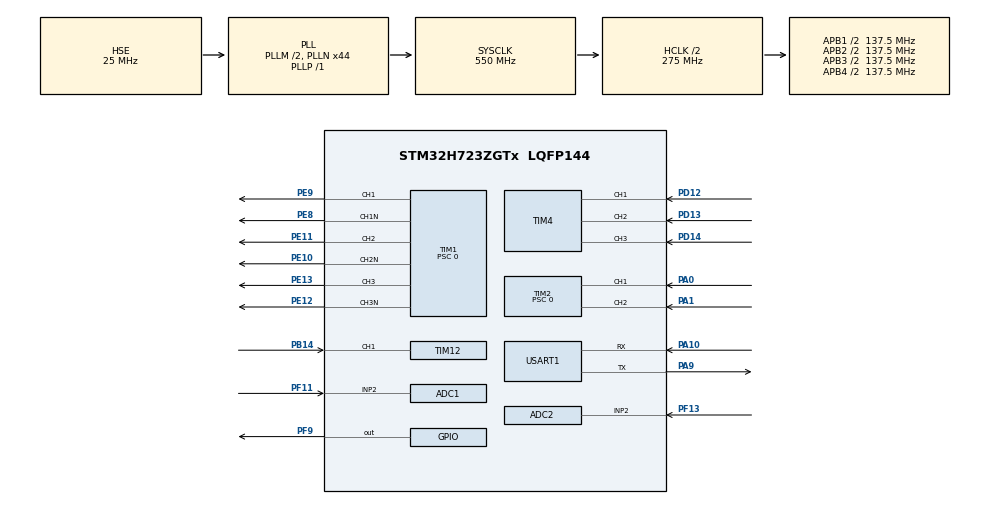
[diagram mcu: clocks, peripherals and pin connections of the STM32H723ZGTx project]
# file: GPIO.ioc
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ADC1.ClockPrescaler=ADC_CLOCK_SYNC_PCLK_DIV1
ADC1.ContinuousConvMode=DISABLE
ADC1.EOCSelection=ADC_EOC_SEQ_CONV
ADC1.EnableInjectedConversion=ENABLE
ADC1.EnableRegularConversion=DISABLE
ADC1.ExternalTrigInjecConv=ADC_EXTERNALTRIGINJEC_T1_TRGO
ADC1.InjNumberOfConversion=1
ADC1.InjectedChannel-18\#ChannelInjectedConversion=ADC_CHANNEL_2
ADC1.InjectedOffsetNumber-18\#ChannelInjectedConversion=ADC_OFFSET_NONE
ADC1.InjectedOffsetSaturation-18\#ChannelInjectedConversion=DISABLE
ADC1.InjectedOffsetSignedSaturation-18\#ChannelInjectedConversion=DISABLE
ADC1.InjectedRank-18\#ChannelInjectedConversion=1
ADC1.InjectedSamplingTime-18\#ChannelInjectedConversion=ADC_SAMPLETIME_8CYCLES_5
ADC1.Mode=ADC_DUALMODE_INJECSIMULT
ADC1.Resolution=ADC_RESOLUTION_12B
ADC1.master=1
ADC2.ClockPrescaler=ADC_CLOCK_SYNC_PCLK_DIV1
ADC2.EOCSelection=ADC_EOC_SEQ_CONV
ADC2.EnableInjectedConversion=ENABLE
ADC2.EnableRegularConversion=DISABLE
ADC2.InjNumberOfConversion=1
ADC2.InjectedChannel-20\#ChannelInjectedConversion=ADC_CHANNEL_2
ADC2.InjectedOffsetNumber-20\#ChannelInjectedConversion=ADC_OFFSET_NONE
ADC2.InjectedOffsetSaturation-20\#ChannelInjectedConversion=DISABLE
ADC2.InjectedRank-20\#ChannelInjectedConversion=1
ADC2.InjectedSamplingTime-20\#ChannelInjectedConversion=ADC_SAMPLETIME_8CYCLES_5
ADC2.Mode=ADC_DUALMODE_INJECSIMULT
ADC2.Resolution=ADC_RESOLUTION_12B
CORTEX_M7.default_mode_Activation=1
Dma.Request0=USART1_RX
Dma.Request1=USART1_TX
Dma.USART1_RX.0.Direction=DMA_PERIPH_TO_MEMORY
Dma.USART1_RX.0.EventEnable=DISABLE
Dma.USART1_RX.0.FIFOMode=DMA_FIFOMODE_DISABLE
Dma.USART1_RX.0.Instance=DMA1_Stream0
Dma.USART1_RX.0.MemDataAlignment=DMA_MDATAALIGN_BYTE
Dma.USART1_RX.0.MemInc=DMA_MINC_ENABLE
Dma.USART1_RX.0.Mode=DMA_CIRCULAR
Dma.USART1_RX.0.PeriphDataAlignment=DMA_PDATAALIGN_BYTE
Dma.USART1_RX.0.PeriphInc=DMA_PINC_DISABLE
Dma.USART1_RX.0.Polarity=HAL_DMAMUX_REQ_GEN_RISING
Dma.USART1_RX.0.Priority=DMA_PRIORITY_LOW
Dma.USART1_RX.0.RequestNumber=1
Dma.USART1_RX.0.SignalID=NONE
Dma.USART1_RX.0.SyncEnable=DISABLE
Dma.USART1_RX.0.SyncPolarity=HAL_DMAMUX_SYNC_NO_EVENT
Dma.USART1_RX.0.SyncRequestNumber=1
Dma.USART1_RX.0.SyncSignalID=NONE
Dma.USART1_TX.1.Direction=DMA_MEMORY_TO_PERIPH
Dma.USART1_TX.1.EventEnable=DISABLE
Dma.USART1_TX.1.FIFOMode=DMA_FIFOMODE_DISABLE
Dma.USART1_TX.1.Instance=DMA1_Stream1
Dma.USART1_TX.1.MemDataAlignment=DMA_MDATAALIGN_BYTE
Dma.USART1_TX.1.MemInc=DMA_MINC_ENABLE
Dma.USART1_TX.1.Mode=DMA_NORMAL
Dma.USART1_TX.1.PeriphDataAlignment=DMA_PDATAALIGN_BYTE
Dma.USART1_TX.1.PeriphInc=DMA_PINC_DISABLE
Dma.USART1_TX.1.Polarity=HAL_DMAMUX_REQ_GEN_RISING
Dma.USART1_TX.1.Priority=DMA_PRIORITY_LOW
Dma.USART1_TX.1.RequestNumber=1
Dma.USART1_TX.1.SignalID=NONE
Dma.USART1_TX.1.SyncEnable=DISABLE
Dma.USART1_TX.1.SyncPolarity=HAL_DMAMUX_SYNC_NO_EVENT
Dma.USART1_TX.1.SyncRequestNumber=1
Dma.USART1_TX.1.SyncSignalID=NONE
Mcu.Family=STM32H7
Mcu.Name=STM32H723ZGTx
Mcu.Package=LQFP144
Mcu.UserConstants=speed_calc_freq_for_encoder,MOTOR_SPEED_CALC_FREQ_FOR_ENCODER;pwm_freq,MOTOR_PWM_FREQ;speed_calc_freq,MOTOR_SPEED_CALC_FREQ
NVIC.ADC_IRQn=true\:1\:0\:true\:false\:true\:true\:true\:true
NVIC.DMA1_Stream0_IRQn=true\:0\:0\:false\:false\:true\:false\:true\:true
NVIC.DMA1_Stream1_IRQn=true\:0\:0\:false\:false\:true\:false\:true\:true
NVIC.PriorityGroup=NVIC_PRIORITYGROUP_4
NVIC.RCC_IRQn=true\:0\:0\:false\:false\:true\:true\:false\:true
NVIC.TIM3_IRQn=true\:1\:0\:true\:false\:true\:true\:true\:true
NVIC.TIM4_IRQn=true\:1\:0\:true\:false\:true\:true\:true\:true
NVIC.TIM5_IRQn=true\:1\:0\:true\:false\:true\:true\:true\:true
NVIC.TIM8_BRK_TIM12_IRQn=true\:0\:0\:false\:false\:true\:true\:true\:true
NVIC.USART1_IRQn=true\:0\:0\:false\:false\:true\:true\:true\:true
PA0.Signal=S_TIM2_CH1_ETR
PA1.Signal=S_TIM2_CH2
PA10.Mode=Asynchronous
PA10.Signal=USART1_RX
PA13(JTMS/SWDIO).Mode=Serial_Wire
PA13(JTMS/SWDIO).Signal=DEBUG_JTMS-SWDIO
PA14(JTCK/SWCLK).Mode=Serial_Wire
PA14(JTCK/SWCLK).Signal=DEBUG_JTCK-SWCLK
PA9.Mode=Asynchronous
PA9.Signal=USART1_TX
PB14.Signal=S_TIM12_CH1
PD12.Signal=S_TIM4_CH1
PD13.Signal=S_TIM4_CH2
PD14.Signal=S_TIM4_CH3
PE10.Mode=PWM Generation2 CH2 CH2N
PE10.Signal=TIM1_CH2N
PE11.Signal=S_TIM1_CH2
PE12.Mode=PWM Generation3 CH3 CH3N
PE12.Signal=TIM1_CH3N
PE13.Signal=S_TIM1_CH3
PE8.Mode=PWM Generation1 CH1 CH1N
PE8.Signal=TIM1_CH1N
PE9.Signal=S_TIM1_CH1
PF11.Mode=IN2-Single-Ended
PF11.Signal=ADC1_INP2
PF13.Mode=IN2-Single-Ended
PF13.Signal=ADC2_INP2
PF9.Signal=GPIO_Output
PH0-OSC_IN.Mode=HSE-External-Oscillator
PH0-OSC_IN.Signal=RCC_OSC_IN
PH1-OSC_OUT.Mode=HSE-External-Oscillator
PH1-OSC_OUT.Signal=RCC_OSC_OUT
ProjectManager.HeapSize=0x200
ProjectManager.StackSize=0x400
ProjectManager.TargetToolchain=MDK-ARM V5.32
RCC.ADCFreq_Value=100000000
RCC.APB1Freq_Value=137500000
RCC.APB2Freq_Value=137500000
RCC.APB3Freq_Value=137500000
RCC.APB4Freq_Value=137500000
RCC.CortexFreq_Value=550000000
RCC.D1PPRE=RCC_APB3_DIV2
RCC.D2PPRE1=RCC_APB1_DIV2
RCC.D2PPRE2=RCC_APB2_DIV2
RCC.D3PPRE=RCC_APB4_DIV2
RCC.DIVM1=2
RCC.DIVM2=2
RCC.DIVN1=44
RCC.DIVN2=16
RCC.DIVP1=1
RCC.HCLKFreq_Value=275000000
RCC.HPRE=RCC_HCLK_DIV2
RCC.PLLFRACN=0
RCC.PLLSourceVirtual=RCC_PLLSOURCE_HSE
RCC.SYSCLKFreq_VALUE=550000000
RCC.SYSCLKSource=RCC_SYSCLKSOURCE_PLLCLK
RCC.USBFreq_Value=275000000
SH.S_TIM12_CH1.0=TIM12_CH1,Input_Capture1_from_TI1
SH.S_TIM1_CH1.0=TIM1_CH1,PWM Generation1 CH1 CH1N
SH.S_TIM1_CH2.0=TIM1_CH2,PWM Generation2 CH2 CH2N
SH.S_TIM1_CH3.0=TIM1_CH3,PWM Generation3 CH3 CH3N
SH.S_TIM2_CH1_ETR.0=TIM2_CH1,Encoder_Interface
SH.S_TIM2_CH2.0=TIM2_CH2,Encoder_Interface
SH.S_TIM4_CH1.0=TIM4_CH1,Xored_Inputs_Hall_Sensor_Interface
SH.S_TIM4_CH2.0=TIM4_CH2,Xored_Inputs_Hall_Sensor_Interface
SH.S_TIM4_CH3.0=TIM4_CH3,Xored_Inputs_Hall_Sensor_Interface
TIM1.AutoReloadPreload=TIM_AUTORELOAD_PRELOAD_ENABLE
TIM1.Channel-PWM\ Generation1\ CH1\ CH1N=TIM_CHANNEL_1
TIM1.Channel-PWM\ Generation2\ CH2\ CH2N=TIM_CHANNEL_2
TIM1.Channel-PWM\ Generation3\ CH3\ CH3N=TIM_CHANNEL_3
TIM1.ClockDivision=TIM_CLOCKDIVISION_DIV1
TIM1.CounterMode=TIM_COUNTERMODE_CENTERALIGNED3
TIM1.DeadTime=100
TIM1.Period=275*1000000/pwm_freq
TIM1.Prescaler=0
TIM1.RepetitionCounter=5-1
TIM1.TIM_MasterOutputTrigger=TIM_TRGO_UPDATE
TIM12.Channel-Input_Capture1_from_TI1=TIM_CHANNEL_1
TIM12.ICFilter_CH1=5
TIM12.Period=65535
TIM12.Prescaler=0
TIM2.EncoderMode=TIM_ENCODERMODE_TI12
TIM2.IC1Filter=5
TIM2.IC2Filter=5
TIM2.Period=4294967295
TIM2.Prescaler=0
TIM3.Period=1000000/speed_calc_freq
TIM3.Prescaler=275-1
TIM5.Period=1000000/speed_calc_freq_for_encoder
TIM5.Prescaler=275-1
TIM5.TIM_MasterOutputTrigger=TIM_TRGO_RESET
USART1.VirtualMode-Asynchronous=VM_ASYNC
VP_MEMORYMAP_VS_MEMORYMAP.Mode=CurAppReg
VP_TIM12_VS_ClockSourceINT.Mode=Internal
VP_TIM1_VS_ClockSourceINT.Mode=Internal
VP_TIM3_VS_ClockSourceINT.Mode=Internal
VP_TIM5_VS_ClockSourceINT.Mode=Internal
VP_TIM6_VS_ClockSourceINT.Mode=Enable_Timer
board=custom

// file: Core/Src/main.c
/* USER CODE BEGIN Header */
/**
 ******************************************************************************
 * @file           : main.c
 * @brief          : Main program body
 ******************************************************************************
 * @attention
 *
 * Copyright (c) 2025 STMicroelectronics.
 * All rights reserved.
 *
 * This software is licensed under terms that can be found in the LICENSE file
 * in the root directory of this software component.
 * If no LICENSE file comes with this software, it is provided AS-IS.
 *
 ******************************************************************************
 */
/* USER CODE END Header */
#include "main.h"
#include "adc.h"
#include "dma.h"
#include "tim.h"
#include "usart.h"
#include "gpio.h"

/* USER CODE BEGIN Includes */
#include "arm_math.h"
#include "stdbool.h"
#include "stdio.h"
#include "stdlib.h"
#include "string.h"
#include "sensor.h"
#include "adc_driver.h"
#include "svpwm.h"
#include "uart_dma_lib.h"
#include "pid.h"
#include "foc_transform.h"
#include "calib_encoder_incremental.h"

/* USER CODE END Includes */

/* USER CODE BEGIN PTD */
/*PID*/
PID_HandleTypeDef pid_speed;
PID_HandleTypeDef pid_id;
PID_HandleTypeDef pid_iq;

/* USER CODE END PTD */

/* USER CODE BEGIN PV */
		/* Sensor variables */
float elec_angle_rad_hall;          /* Electrical angle (rad) */
float elec_angle_rad_encoder;
float mech_angle_rad_encoder;          /* Mechanical angle (rad) */
float mech_angle_deg;
float elec_angle_deg;
float raw_angle;
float speed_ref_rads = 20; // setpoint speed rad/s

uint8_t hall_step;             /* Current Hall step (1..6) */

/* Current measurement variables */
float iu, iv,iw;                  								 /* Phase A, B,C currents (A) */

float i_alpha, i_beta , v_alpha , v_beta;          /* Stationary frame currents */

float i_d = 0 , i_q = 0 , i_q_ref = 0 , i_d_ref = 0;             /* Rotating frame currents */

float v_d = 0.0f , v_q = 0.0f;

int state = 0;

int state_Z=0;

int dir =1;

/*PID*/
float speed_mechanic_rad;
/* USER CODE END PV */

void SystemClock_Config(void);
static void MPU_Config(void);
/* USER CODE BEGIN PFP */
void Calib(void);
void Align_Process(void);
/* USER CODE END PFP */

/* USER CODE BEGIN 0 */
/* FOC loop interrupt (e.g., 10 kHz) */

void HAL_TIM_PeriodElapsedCallback(TIM_HandleTypeDef *htim)
{
    if (htim->Instance == TIM3)   // FOC loop (10kHz)
    {
        elec_angle_rad_hall = Sensor_Get_Electrical_Angle_Hall();

				raw_angle = Encoder_Get_Raw_Angle();
				elec_angle_rad_encoder = Encoder_Get_Electric_Angle();
				mech_angle_rad_encoder = Encoder_Get_Mechanic_Angle();
        speed_mechanic_rad = Encoder_Get_Mechanic_Speed();
        hall_step = Hall_GetStep();
        iu = ADC_Driver_GetCurrents_1();
        iv = ADC_Driver_GetCurrents_2();
        iw = ADC_Driver_GetCurrents_3();
				HAL_GPIO_WritePin(GPIOF, GPIO_PIN_9, GPIO_PIN_SET);

				  if (state == 1)
					{
					FOC_InvPark(v_d, v_q, 0, &v_alpha, &v_beta);
					SVPWM_Update(v_alpha, v_beta);
					Encoder_Reset();
					}
					else if (state==2) {

					FOC_Clarke(iu, iv, iw, &i_alpha, &i_beta);
					FOC_Park(i_alpha, i_beta, elec_angle_rad_encoder, &i_d, &i_q);

					i_q_ref = PID_Compute(&pid_speed, speed_ref_rads, speed_mechanic_rad);
					v_q = PID_Compute(&pid_iq, i_q_ref, i_q);
					v_d = PID_Compute(&pid_id, 0,i_d);

					FOC_InvPark(v_d, v_q, elec_angle_rad_encoder, &v_alpha, &v_beta);
					SVPWM_Update(v_alpha, v_beta);

					}
					else if(state ==3){
						FOC_InvPark(v_d, v_q, elec_angle_rad_encoder, &v_alpha, &v_beta);
						SVPWM_Update(v_alpha, v_beta);
					}
					else if(state ==4){

						v_q = PID_Compute(&pid_iq, i_q_ref, i_q);
						v_d = PID_Compute(&pid_id, i_d_ref, i_d);
						FOC_InvPark(v_d, v_q, elec_angle_rad_encoder, &v_alpha, &v_beta);
						SVPWM_Update(v_alpha, v_beta);
						FOC_Clarke(iu, iv, iw, &i_alpha, &i_beta);
						FOC_Park(i_alpha, i_beta, elec_angle_rad_encoder, &i_d, &i_q);

						HAL_GPIO_WritePin(GPIOF, GPIO_PIN_9, GPIO_PIN_RESET);

					}
    }
		else if (htim->Instance == TIM5)
		{

			EncoderSensor_Update();
		}
}

void HAL_TIM_IC_CaptureCallback(TIM_HandleTypeDef *htim)
{
    if (htim->Instance == TIM4 && htim->Channel == HAL_TIM_ACTIVE_CHANNEL_1)
    {
        HallSensor_Update();
    }
		else if (htim->Instance == TIM12)
		{
		}
}

/* USER CODE END 0 */

int main(void)
{

  /* MPU Configuration--------------------------------------------------------*/
  MPU_Config();

  /* MCU Configuration--------------------------------------------------------*/

  /* Reset of all peripherals, Initializes the Flash interface and the Systick. */
  HAL_Init();

  /* Configure the system clock */
  SystemClock_Config();

  /* Initialize all configured peripherals */
  MX_GPIO_Init();
  MX_DMA_Init();
  MX_TIM1_Init();
  MX_TIM3_Init();
  MX_TIM2_Init();
  MX_TIM4_Init();
  MX_TIM5_Init();
  MX_ADC1_Init();
  MX_ADC2_Init();
  MX_USART1_UART_Init();
  MX_TIM12_Init();
  MX_TIM6_Init();
  /* USER CODE BEGIN 2 */
		//center-alinge
		SVPWM_Init(&htim1, VDC_BUS, (float)MOTOR_PWM_FREQ, htim1.Init.Period);
		SVPWM_Start();
    HAL_TIM_Base_Start_IT(&TIM_FOC_LOOP);
		HAL_TIM_Base_Start_IT(&TIM_SPEED_CALC);
		/* ======================== Hall sensor ======================== */
		Hall_Sensor_Init();
		HallSensor_Update();
		/* ======================== Encoder sensor ======================== */
		Encoder_Sensor_Init();
		/* ======================== ADC sensor ======================== */
		ADC_Driver_Init();
		/* ======================== UART sensor ======================== */
		MX_USART1_UART_Init();
		UART_DMA_Init();
		UART_DMA_SendString("UART DMA with IDLE+HT/TC ready\r\n");
		/* ======================== PID ======================== */

		PID_Init(&pid_iq, 0.9f, 1000.0f, 0.0f, 1/MOTOR_SPEED_CALC_FREQ , VDC_BUS/SQRT3, -VDC_BUS/SQRT3);
		PID_Init(&pid_id, 0.9f, 1000.0f, 0.0f, 1/MOTOR_SPEED_CALC_FREQ , VDC_BUS/SQRT3, -VDC_BUS/SQRT3);
		PID_Init(&pid_speed, 0.1f, 0.9f, 0.0f, 1/MOTOR_SPEED_CALC_FREQ , 10, -10);

  /* USER CODE END 2 */

  /* Infinite loop */
    while (1)
    {

    }
}

void SystemClock_Config(void)
{
  RCC_OscInitTypeDef RCC_OscInitStruct = {0};
  RCC_ClkInitTypeDef RCC_ClkInitStruct = {0};

  /** Supply configuration update enable
  */
  HAL_PWREx_ConfigSupply(PWR_LDO_SUPPLY);

  /** Configure the main internal regulator output voltage
  */
  __HAL_PWR_VOLTAGESCALING_CONFIG(PWR_REGULATOR_VOLTAGE_SCALE0);

  while(!__HAL_PWR_GET_FLAG(PWR_FLAG_VOSRDY)) {}

  /** Initializes the RCC Oscillators according to the specified parameters
  * in the RCC_OscInitTypeDef structure.
  */
  RCC_OscInitStruct.OscillatorType = RCC_OSCILLATORTYPE_HSE;
  RCC_OscInitStruct.HSEState = RCC_HSE_ON;
  RCC_OscInitStruct.PLL.PLLState = RCC_PLL_ON;
  RCC_OscInitStruct.PLL.PLLSource = RCC_PLLSOURCE_HSE;
  RCC_OscInitStruct.PLL.PLLM = 2;
  RCC_OscInitStruct.PLL.PLLN = 44;
  RCC_OscInitStruct.PLL.PLLP = 1;
  RCC_OscInitStruct.PLL.PLLQ = 2;
  RCC_OscInitStruct.PLL.PLLR = 2;
  RCC_OscInitStruct.PLL.PLLRGE = RCC_PLL1VCIRANGE_3;
  RCC_OscInitStruct.PLL.PLLVCOSEL = RCC_PLL1VCOWIDE;
  RCC_OscInitStruct.PLL.PLLFRACN = 0;
  if (HAL_RCC_OscConfig(&RCC_OscInitStruct) != HAL_OK)
  {
    Error_Handler();
  }

  /** Initializes the CPU, AHB and APB buses clocks
  */
  RCC_ClkInitStruct.ClockType = RCC_CLOCKTYPE_HCLK|RCC_CLOCKTYPE_SYSCLK
                              |RCC_CLOCKTYPE_PCLK1|RCC_CLOCKTYPE_PCLK2
                              |RCC_CLOCKTYPE_D3PCLK1|RCC_CLOCKTYPE_D1PCLK1;
  RCC_ClkInitStruct.SYSCLKSource = RCC_SYSCLKSOURCE_PLLCLK;
  RCC_ClkInitStruct.SYSCLKDivider = RCC_SYSCLK_DIV1;
  RCC_ClkInitStruct.AHBCLKDivider = RCC_HCLK_DIV2;
  RCC_ClkInitStruct.APB3CLKDivider = RCC_APB3_DIV2;
  RCC_ClkInitStruct.APB1CLKDivider = RCC_APB1_DIV2;
  RCC_ClkInitStruct.APB2CLKDivider = RCC_APB2_DIV2;
  RCC_ClkInitStruct.APB4CLKDivider = RCC_APB4_DIV2;

  if (HAL_RCC_ClockConfig(&RCC_ClkInitStruct, FLASH_LATENCY_3) != HAL_OK)
  {
    Error_Handler();
  }
}

 /* MPU Configuration */

void MPU_Config(void)
{
  MPU_Region_InitTypeDef MPU_InitStruct = {0};

  /* Disables the MPU */
  HAL_MPU_Disable();

  /** Initializes and configures the Region and the memory to be protected
  */
  MPU_InitStruct.Enable = MPU_REGION_ENABLE;
  MPU_InitStruct.Number = MPU_REGION_NUMBER0;
  MPU_InitStruct.BaseAddress = 0x0;
  MPU_InitStruct.Size = MPU_REGION_SIZE_4GB;
  MPU_InitStruct.SubRegionDisable = 0x87;
  MPU_InitStruct.TypeExtField = MPU_TEX_LEVEL0;
  MPU_InitStruct.AccessPermission = MPU_REGION_NO_ACCESS;
  MPU_InitStruct.DisableExec = MPU_INSTRUCTION_ACCESS_DISABLE;
  MPU_InitStruct.IsShareable = MPU_ACCESS_SHAREABLE;
  MPU_InitStruct.IsCacheable = MPU_ACCESS_NOT_CACHEABLE;
  MPU_InitStruct.IsBufferable = MPU_ACCESS_NOT_BUFFERABLE;

  HAL_MPU_ConfigRegion(&MPU_InitStruct);
  /* Enables the MPU */
  HAL_MPU_Enable(MPU_PRIVILEGED_DEFAULT);

}

void Error_Handler(void)
{
    __disable_irq();
    while (1)
    {
    }
}
